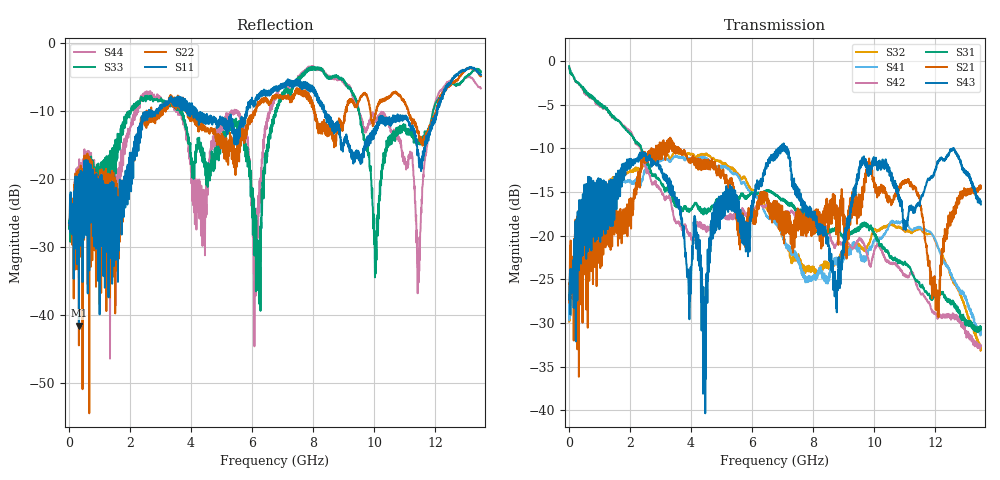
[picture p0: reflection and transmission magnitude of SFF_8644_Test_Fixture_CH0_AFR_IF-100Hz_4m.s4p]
!Keysight Technologies,N5231B,MY57181281,A.17.25.05
!Date: Friday, March 07, 2025 16:22:14
!Correction: S11(C  4-Port  )
!S12(C  4-Port  )
!S13(C  4-Port  )
!S14(C  4-Port  )
!S21(C  4-Port  )
!S22(C  4-Port  )
!S23(C  4-Port  )
!S24(C  4-Port  )
!S31(C  4-Port  )
!S32(C  4-Port  )
!S33(C  4-Port  )
!S34(C  4-Port  )
!S41(C  4-Port  )
!S42(C  4-Port  )
!S43(C  4-Port  )
!S44(C  4-Port  )
!S4P File: Measurements: <S11,S12,S13,S14>,
!<S21,S22,S23,S24>,
!<S31,S32,S33,S34>,
!<S41,S42,S43,S44>:
# Hz S  dB  R 50
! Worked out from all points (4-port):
!   1350 points, 10 MHz to 13.5 GHz, reference 50 ohm
!   strongest paths, dB at 10 MHz, 3.38 GHz, 6.76 GHz, 10.13 GHz, 13.5 GHz:
!     S43: -27.3, -14.9, -11.3, -11.8, -16.4
!     S21: -27.7, -10.3, -17.9, -14.7, -14.6
!     S31: -0.6, -15.5, -15.3, -20.6, -30.5
!     S42: -0.6, -16.9, -16.8, -21.0, -32.6
!     S41: -29.7, -11.3, -18.4, -20.5, -30.9
!     S32: -29.8, -10.8, -18.4, -19.3, -32.6
!   lowest |S11| = -41.6 dB at 330 MHz (marker M1), VSWR 1.02, Z = 50.8 + j0.123 ohm
!   |S11| at or under -10 dB: start of sweep to 2.629 GHz; 4.201 GHz to 5.826 GHz (1.626 GHz wide, 32.4 % of centre); 8.368 GHz to 12.06 GHz (3.69 GHz wide, 36.1 % of centre)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
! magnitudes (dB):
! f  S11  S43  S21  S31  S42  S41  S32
! 10 MHz  -26.5  -27.3  -27.7  -0.6  -0.6  -29.7  -29.8
! 330 MHz  -41.6  -24.0  -36.2  -2.5  -2.5  -24.5  -24.5
! 5.47 GHz  -12.9  -15.4  -17.5  -16.0  -18.1  -12.9  -12.6
! 6.22 GHz  -7.7  -13.9  -17.0  -15.2  -16.5  -15.8  -15.5
! 8.01 GHz  -7.3  -17.2  -17.5  -18.9  -19.2  -24.6  -23.7
! 11.45 GHz  -16.2  -16.3  -15.3  -25.3  -26.1  -19.0  -19.2
! 13.5 GHz  -4.7  -16.4  -14.6  -30.5  -32.6  -30.9  -32.6
